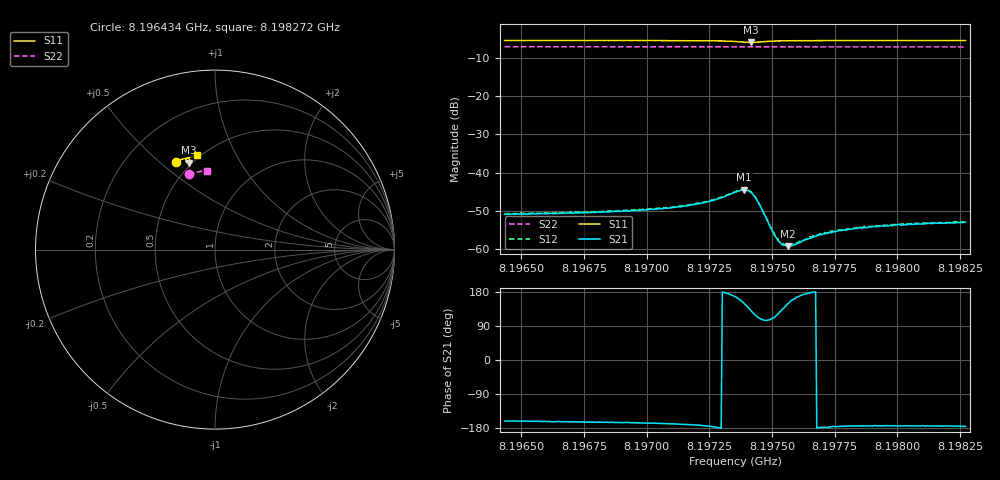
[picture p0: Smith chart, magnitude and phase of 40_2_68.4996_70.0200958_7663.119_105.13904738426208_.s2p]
#  HZ  S  RI  R  50.00
! Rohde & Schwarz Vector Network Analyzer
! Rohde-Schwarz,ZNB20-2Port,1311601062101988,3.16
! Created: UTC 3/20/2024, 4:50:18 PM
! freq[Hz]  re:S11  im:S11  re:S21  im:S21  re:S12  im:S12  re:S22  im:S22
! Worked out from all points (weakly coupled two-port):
!   401 points, 8.196434 GHz to 8.198272 GHz, reference 50 ohm
!   highest |S21| = -44.45 dB at 8.197389 GHz (marker M1); lowest = -59.2 dB at 8.197564 GHz (marker M2)
!   lowest |S11| = -5.9 dB at 8.197417 GHz (marker M3), VSWR 3.04, Z = 24 + j31.2 ohm
!   |S11| at or under -10 dB: nowhere
!   |S22| runs from -7.1 to -7.0 dB; largest |S21 - S12| = 0.00034
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8.1964338e9  -0.2186 0.4902  -0.00269 -0.000926  -0.00279 -0.000848  -0.1457 0.4205
8.1967417e9  -0.1974 0.4988  -0.00289 -0.000842  -0.00297 -0.000735  -0.1291 0.4253
8.1970495e9  -0.1745 0.5061  -0.00328 -0.000733  -0.00339 -0.00063  -0.1124 0.4296
8.1972194e9  -0.159 0.5089  -0.00397 -0.000509  -0.00407 -0.000379  -0.1029 0.4316
8.1972746e9  -0.1524 0.5086  -0.00443 -0.000218  -0.00452 -5.83e-05  -0.0999 0.4321
8.1973527e9  -0.1407 0.5013  -0.00541 0.0012  -0.00543 0.00152  -0.0954 0.4327
8.1973894e9  -0.1396 0.4906  -0.00515 0.00307  -0.00508 0.00334  -0.0933 0.4329
8.1974032e9  -0.1424 0.4862  -0.00444 0.00379  -0.00437 0.00406  -0.0927 0.4327
8.197417e9  -0.1475 0.4835  -0.00352 0.00424  -0.00337 0.00445  -0.0919 0.4329
8.1974308e9  -0.1531 0.4835  -0.00246 0.00421  -0.00231 0.00437  -0.0915 0.4332
8.1974492e9  -0.159 0.4873  -0.00137 0.00362  -0.0012 0.00376  -0.0907 0.4334
8.1975043e9  -0.1607 0.5014  -0.000583 0.00154  -0.000523 0.00164  -0.0876 0.4343
8.1975181e9  -0.1595 0.5036  -0.000666 0.00125  -0.00063 0.00125  -0.0869 0.4344
8.1975364e9  -0.1576 0.5061  -0.000751 0.000908  -0.000729 0.000942  -0.0858 0.4347
8.197564e9  -0.1547 0.5088  -0.000938 0.000563  -0.000934 0.000597  -0.0843 0.435
8.197587e9  -0.1522 0.5107  -0.00107 0.000368  -0.00111 0.000426  -0.083 0.4352
8.1976605e9  -0.1452 0.5142  -0.00143 2.06e-05  -0.00146 7.2e-05  -0.0787 0.436
8.1977386e9  -0.1386 0.5168  -0.00164 -0.000121  -0.00174 -4.97e-05  -0.0744 0.4365
8.1977753e9  -0.1354 0.5177  -0.00174 -0.000148  -0.00179 -0.000105  -0.0723 0.4368
8.1978764e9  -0.1275 0.5198  -0.0019 -0.000191  -0.00196 -9.76e-05  -0.0667 0.4375
8.1979683e9  -0.1205 0.5215  -0.00203 -0.000216  -0.00206 -0.000152  -0.0615 0.4382
8.1982715e9  -0.0985 0.5261  -0.00224 -0.000194  -0.0023 -0.000104  -0.0445 0.4396
